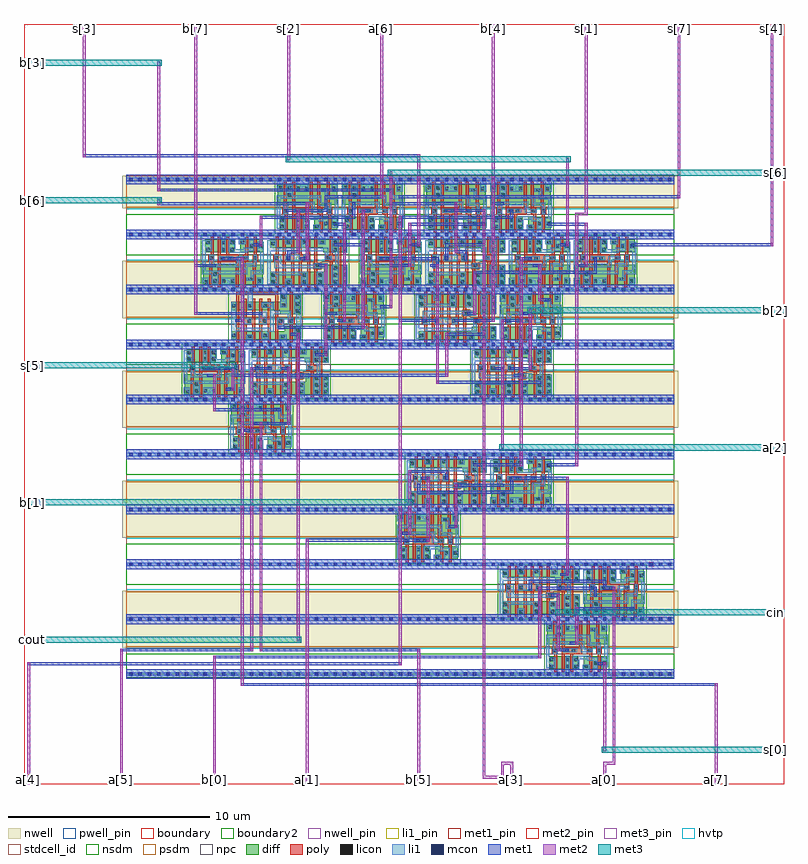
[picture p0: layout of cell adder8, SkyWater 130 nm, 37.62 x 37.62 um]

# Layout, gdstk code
import gdstk
lib = gdstk.Library(unit=1e-6, precision=1e-09)
def R(c, l, rs):  # rectangles x0, y0, x1, y1
    for r in rs: c.add(gdstk.rectangle(r[:2], r[2:], *l))
def A(c, l, x, y, w, h, nx, ny, dx, dy):  # array of equal rectangles
    R(c, l, [(x+i*dx, y+j*dy, x+i*dx+w, y+j*dy+h) for i in range(nx) for j in range(ny)])
def P(c, l, *ps):  # polygons
    for p in ps: c.add(gdstk.Polygon(p, *l))
nwell_pin = (64, 16)
nwell = (64, 20)
diff = (65, 20)
poly = (66, 20)
licon = (66, 44)
li1_pin = (67, 16)
li1 = (67, 20)
mcon = (67, 44)
met1_pin = (68, 16)
met1 = (68, 20)
met2_pin = (69, 16)
met2 = (69, 20)
met3_pin = (70, 16)
met3 = (70, 20)
hvtp = (78, 44)
stdcell_id = (81, 4)
nsdm = (93, 44)
psdm = (94, 20)
npc = (95, 20)
pwell_pin = (122, 16)
boundary = (235, 4)
boundary2 = (236, 0)

sky130_fd_sc_hd__fill_4 = lib.new_cell('sky130_fd_sc_hd__fill_4')
R(sky130_fd_sc_hd__fill_4, nwell_pin, [(0.175,2.65,0.3,2.78)])
R(sky130_fd_sc_hd__fill_4, nwell, [(-0.19,1.305,2.03,2.91)])
A(sky130_fd_sc_hd__fill_4, mcon, 0.145, -0.085, 0.17, 0.17, 4, 2, 0.46, 2.72)
R(sky130_fd_sc_hd__fill_4, met1_pin, [(0.17,-0.05,0.285,0.045), (0.17,2.675,0.27,2.76)])
R(sky130_fd_sc_hd__fill_4, hvtp, [(0,1.25,1.84,2.72)])
R(sky130_fd_sc_hd__fill_4, stdcell_id, [(0,0,1.84,2.72)])
R(sky130_fd_sc_hd__fill_4, nsdm, [(0,-0.19,1.84,1.015)])
R(sky130_fd_sc_hd__fill_4, psdm, [(0,1.355,1.84,2.91)])
R(sky130_fd_sc_hd__fill_4, pwell_pin, [(0.175,-0.06,0.285,0.06)])
sky130_fd_sc_hd__fill_4.add(gdstk.FlexPath([(0,0),(1.84,0)], 0.17, ends="flush", simple_path=True, layer=67, datatype=20))  # li1
sky130_fd_sc_hd__fill_4.add(gdstk.FlexPath([(0,2.72),(1.84,2.72)], 0.17, ends="flush", simple_path=True, layer=67, datatype=20))  # li1
sky130_fd_sc_hd__fill_4.add(gdstk.FlexPath([(0,2.72),(1.84,2.72)], 0.48, ends="flush", simple_path=True, layer=68, datatype=20))  # met1
sky130_fd_sc_hd__fill_4.add(gdstk.FlexPath([(0,0),(1.84,0)], 0.48, ends="flush", simple_path=True, layer=68, datatype=20))  # met1
sky130_fd_sc_hd__fill_4.add(gdstk.Label('VGND', (0.23,0), layer=68, texttype=5))
sky130_fd_sc_hd__fill_4.add(gdstk.Label('VPWR', (0.23,2.72), layer=68, texttype=5))
sky130_fd_sc_hd__fill_4.add(gdstk.Label('VPB', (0.23,2.72), layer=64, texttype=5))
sky130_fd_sc_hd__fill_4.add(gdstk.Label('VNB', (0.23,0), layer=64, texttype=59))
sky130_fd_sc_hd__fill_4.add(gdstk.Label('fill_4', (0,0), layer=83, texttype=44))

sky130_fd_sc_hd__fill_1 = lib.new_cell('sky130_fd_sc_hd__fill_1')
R(sky130_fd_sc_hd__fill_1, nwell_pin, [(0.155,2.67,0.255,2.755)])
R(sky130_fd_sc_hd__fill_1, nwell, [(-0.19,1.305,0.65,2.91)])
R(sky130_fd_sc_hd__fill_1, mcon, [(0.145,-0.085,0.315,0.085), (0.145,2.635,0.315,2.805)])
R(sky130_fd_sc_hd__fill_1, met1_pin, [(0.11,-0.065,0.29,0.08), (0.11,2.635,0.29,2.785)])
R(sky130_fd_sc_hd__fill_1, hvtp, [(0,1.25,0.46,2.72)])
R(sky130_fd_sc_hd__fill_1, stdcell_id, [(0,0,0.46,2.72)])
R(sky130_fd_sc_hd__fill_1, nsdm, [(0,-0.19,0.46,1.015)])
R(sky130_fd_sc_hd__fill_1, psdm, [(0,1.355,0.46,2.91)])
R(sky130_fd_sc_hd__fill_1, pwell_pin, [(0.14,-0.055,0.26,0.055)])
sky130_fd_sc_hd__fill_1.add(gdstk.FlexPath([(0,0),(0.46,0)], 0.17, ends="flush", simple_path=True, layer=67, datatype=20))  # li1
sky130_fd_sc_hd__fill_1.add(gdstk.FlexPath([(0,2.72),(0.46,2.72)], 0.17, ends="flush", simple_path=True, layer=67, datatype=20))  # li1
sky130_fd_sc_hd__fill_1.add(gdstk.FlexPath([(0,2.72),(0.46,2.72)], 0.48, ends="flush", simple_path=True, layer=68, datatype=20))  # met1
sky130_fd_sc_hd__fill_1.add(gdstk.FlexPath([(0,0),(0.46,0)], 0.48, ends="flush", simple_path=True, layer=68, datatype=20))  # met1
sky130_fd_sc_hd__fill_1.add(gdstk.Label('VPWR', (0.205,2.72), layer=68, texttype=5))
sky130_fd_sc_hd__fill_1.add(gdstk.Label('VGND', (0.205,0), layer=68, texttype=5))
sky130_fd_sc_hd__fill_1.add(gdstk.Label('VPB', (0.23,2.72), layer=64, texttype=5))
sky130_fd_sc_hd__fill_1.add(gdstk.Label('VNB', (0.23,0), layer=64, texttype=59))
sky130_fd_sc_hd__fill_1.add(gdstk.Label('fill_1', (0,0), layer=83, texttype=44))

sky130_fd_sc_hd__maj3_2 = lib.new_cell('sky130_fd_sc_hd__maj3_2')
R(sky130_fd_sc_hd__maj3_2, nwell_pin, [(0.145,2.635,0.315,2.805)])
R(sky130_fd_sc_hd__maj3_2, nwell, [(-0.19,1.305,4.33,2.91)])
P(sky130_fd_sc_hd__maj3_2, diff, [(4.005,0.885),(2.85,0.885),(2.85,0.655),(0.235,0.655),(0.235,0.235),(4.005,0.235)],
  [(4.005,2.485),(0.235,2.485),(0.235,1.845),(2.915,1.845),(2.915,1.485),(4.005,1.485)])
P(sky130_fd_sc_hd__maj3_2, poly, [(0.645,2.615),(0.495,2.615),(0.495,1.325),(0.375,1.325),(0.375,0.995),(0.495,0.995),(0.495,0.105),(0.645,0.105)],
  [(2.205,2.615),(2.055,2.615),(2.055,1.325),(1.785,1.325),(1.785,2.615),(1.635,2.615),(1.635,0.105),(1.785,0.105),(1.785,0.995),(2.055,0.995),(2.055,0.105),(2.205,0.105)],
  [(3.735,2.615),(3.585,2.615),(3.585,1.295),(3.315,1.295),(3.315,2.615),(3.165,2.615),(3.165,1.295),(2.945,1.295),(2.945,1.025),(3.165,1.025),(3.165,0.105),(3.315,0.105),(3.315,1.025),(3.585,1.025),(3.585,0.105),(3.735,0.105)],
  [(2.745,1.655),(2.565,1.655),(2.565,2.615),(2.415,2.615),(2.415,0.105),(2.565,0.105),(2.565,1.385),(2.745,1.385)],
  [(1.425,2.615),(1.275,2.615),(1.275,1.325),(1.005,1.325),(1.005,2.615),(0.855,2.615),(0.855,0.105),(1.005,0.105),(1.005,0.995),(1.275,0.995),(1.275,0.105),(1.425,0.105)])
A(sky130_fd_sc_hd__maj3_2, licon, 3.365, 1.575, 0.17, 0.17, 1, 3, 0, 0.34)
A(sky130_fd_sc_hd__maj3_2, licon, 3.785, 1.575, 0.17, 0.17, 1, 3, 0, 0.34)
A(sky130_fd_sc_hd__maj3_2, licon, 0.275, 2.255, 0.17, 0.17, 4, 1, 0.78, 0)
R(sky130_fd_sc_hd__maj3_2, licon, [(1.055,0.275,1.225,0.445), (1.835,0.275,2.005,0.445), (2.715,0.295,2.885,0.465), (3.365,0.315,3.535,0.485), (3.785,0.315,3.955,0.485), (0.275,0.36,0.445,0.53), (3.365,0.655,3.535,0.825), (3.785,0.655,3.955,0.825), (0.425,1.075,0.595,1.245), (1.055,1.075,1.225,1.245), (1.865,1.075,2.035,1.245), (3.025,1.075,3.195,1.245), (2.495,1.435,2.665,1.605), (0.275,1.915,0.445,2.085), (1.835,1.915,2.005,2.085), (2.615,1.915,2.785,2.085)])
A(sky130_fd_sc_hd__maj3_2, li1_pin, 0.605, 1.105, 0.17, 0.17, 4, 1, 0.46, 0)
R(sky130_fd_sc_hd__maj3_2, li1_pin, [(3.36,0.425,3.53,0.595), (2.445,1.445,2.615,1.615), (2.9,1.445,3.07,1.615)])
R(sky130_fd_sc_hd__maj3_2, li1, [(1.005,0.995,1.695,1.325), (1.865,0.995,2.155,1.325)])
P(sky130_fd_sc_hd__maj3_2, li1, [(4.14,0.085),(4.055,0.085),(4.055,0.905),(3.785,0.905),(3.785,0.085),(2.965,0.085),(2.965,0.485),(2.635,0.485),(2.635,0.085),(1.305,0.085),(1.305,0.485),(0.975,0.485),(0.975,0.085),(0,0.085),(0,-0.085),(4.14,-0.085)],
  [(4.14,2.805),(0,2.805),(0,2.635),(0.975,2.635),(0.975,2.175),(1.305,2.175),(1.305,2.635),(2.535,2.635),(2.535,1.835),(2.86,1.835),(2.86,2.635),(3.785,2.635),(3.785,1.495),(4.055,1.495),(4.055,2.635),(4.14,2.635)],
  [(3.615,2.465),(3.285,2.465),(3.285,1.495),(3.445,1.495),(3.445,0.905),(3.285,0.905),(3.285,0.255),(3.615,0.255)],
  [(3.275,1.245),(2.925,1.245),(2.925,0.825),(0.255,0.825),(0.255,1.835),(2.085,1.835),(2.085,2.465),(1.755,2.465),(1.755,2.005),(0.615,2.005),(0.615,2.465),(0.085,2.465),(0.085,0.28),(0.525,0.28),(0.525,0.655),(1.755,0.655),(1.755,0.255),(2.085,0.255),(2.085,0.655),(3.105,0.655),(3.105,1.075),(3.275,1.075)],
  [(3.07,1.665),(0.425,1.665),(0.425,0.995),(0.775,0.995),(0.775,1.495),(2.415,1.495),(2.415,1.415),(3.07,1.415)])
A(sky130_fd_sc_hd__maj3_2, mcon, 0.145, -0.085, 0.17, 0.17, 9, 2, 0.46, 2.72)
R(sky130_fd_sc_hd__maj3_2, met1_pin, [(0.145,-0.085,0.315,0.085), (0.145,2.635,0.315,2.805)])
R(sky130_fd_sc_hd__maj3_2, hvtp, [(0,1.25,4.14,2.72)])
R(sky130_fd_sc_hd__maj3_2, stdcell_id, [(0,0,4.14,2.72)])
R(sky130_fd_sc_hd__maj3_2, nsdm, [(0,-0.19,4.14,1.015)])
P(sky130_fd_sc_hd__maj3_2, psdm, [(4.14,2.91),(0,2.91),(0,1.355),(2.385,1.355),(2.385,1.715),(2.775,1.715),(2.775,1.355),(4.14,1.355)])
P(sky130_fd_sc_hd__maj3_2, npc, [(4.14,1.345),(2.765,1.345),(2.765,1.705),(2.395,1.705),(2.395,1.345),(0,1.345),(0,0.975),(4.14,0.975)])
R(sky130_fd_sc_hd__maj3_2, pwell_pin, [(0.145,-0.085,0.315,0.085)])
R(sky130_fd_sc_hd__maj3_2, boundary2, [(0,0,4.14,2.72)])
sky130_fd_sc_hd__maj3_2.add(gdstk.FlexPath([(0,2.72),(4.14,2.72)], 0.48, ends="flush", simple_path=True, layer=68, datatype=20))  # met1
sky130_fd_sc_hd__maj3_2.add(gdstk.FlexPath([(0,0),(4.14,0)], 0.48, ends="flush", simple_path=True, layer=68, datatype=20))  # met1
sky130_fd_sc_hd__maj3_2.add(gdstk.Label('VNB', (0.23,0), layer=64, texttype=59))
sky130_fd_sc_hd__maj3_2.add(gdstk.Label('VPB', (0.23,2.72), layer=64, texttype=5))
sky130_fd_sc_hd__maj3_2.add(gdstk.Label('VGND', (0.23,0), layer=68, texttype=5))
sky130_fd_sc_hd__maj3_2.add(gdstk.Label('VPWR', (0.23,2.72), layer=68, texttype=5))
sky130_fd_sc_hd__maj3_2.add(gdstk.Label('B', (2.07,1.19), layer=67, texttype=5))
sky130_fd_sc_hd__maj3_2.add(gdstk.Label('A', (1.15,1.19), layer=67, texttype=5))
sky130_fd_sc_hd__maj3_2.add(gdstk.Label('A', (1.61,1.19), layer=67, texttype=5))
sky130_fd_sc_hd__maj3_2.add(gdstk.Label('C', (2.53,1.53), layer=67, texttype=5))
sky130_fd_sc_hd__maj3_2.add(gdstk.Label('C', (2.985,1.53), layer=67, texttype=5))
sky130_fd_sc_hd__maj3_2.add(gdstk.Label('X', (3.445,0.51), layer=67, texttype=5))
sky130_fd_sc_hd__maj3_2.add(gdstk.Label('maj3_2', (0,0), layer=83, texttype=44))

sky130_fd_sc_hd__xnor2_1 = lib.new_cell('sky130_fd_sc_hd__xnor2_1')
R(sky130_fd_sc_hd__xnor2_1, nwell_pin, [(0.145,2.635,0.315,2.805)])
R(sky130_fd_sc_hd__xnor2_1, nwell, [(-0.19,1.305,3.41,2.91)])
R(sky130_fd_sc_hd__xnor2_1, diff, [(0.235,0.235,1.685,0.885), (1.955,0.235,3.085,0.885), (0.135,1.485,3.085,2.485)])
P(sky130_fd_sc_hd__xnor2_1, poly, [(2.845,1.325),(2.725,1.325),(2.725,2.615),(2.575,2.615),(2.575,0.995),(2.635,0.995),(2.635,0.105),(2.785,0.105),(2.785,0.995),(2.845,0.995)],
  [(2.365,1.325),(2.245,1.325),(2.245,2.615),(2.095,2.615),(2.095,0.995),(2.215,0.995),(2.215,0.105),(2.365,0.105)],
  [(1.885,2.615),(1.735,2.615),(1.735,1.325),(1.005,1.325),(1.005,2.615),(0.855,2.615),(0.855,0.105),(1.005,0.105),(1.005,0.995),(1.275,0.995),(1.275,0.105),(1.425,0.105),(1.425,0.995),(1.885,0.995)],
  [(0.645,1.325),(0.585,1.325),(0.585,2.615),(0.435,2.615),(0.435,1.325),(0.375,1.325),(0.375,0.995),(0.495,0.995),(0.495,0.105),(0.645,0.105)])
R(sky130_fd_sc_hd__xnor2_1, licon, [(0.275,0.305,0.445,0.475), (1.055,0.305,1.225,0.475), (1.475,0.305,1.645,0.475), (1.995,0.305,2.165,0.475), (2.415,0.47,2.585,0.64), (2.875,0.47,3.045,0.64), (0.275,0.645,0.445,0.815), (1.055,0.645,1.225,0.815), (1.475,0.645,1.645,0.815), (0.425,1.075,0.595,1.245), (1.01,1.075,1.18,1.245), (1.35,1.075,1.52,1.245), (2.145,1.075,2.315,1.245), (2.625,1.075,2.795,1.245), (0.635,1.875,0.805,2.045), (2.355,2.125,2.525,2.295), (1.055,2.205,1.225,2.375), (1.515,2.205,1.685,2.375), (2.815,2.205,2.985,2.375), (0.635,2.215,0.805,2.385), (0.215,2.255,0.385,2.425)])
R(sky130_fd_sc_hd__xnor2_1, li1_pin, [(1.065,1.105,1.235,1.275), (0.605,1.445,0.775,1.615), (2.905,1.785,3.075,1.955)])
R(sky130_fd_sc_hd__xnor2_1, li1, [(0.93,1.075,1.625,1.275)])
P(sky130_fd_sc_hd__xnor2_1, li1, [(3.135,1.955),(2.645,1.955),(2.645,2.295),(2.265,2.295),(2.265,2.125),(2.475,2.125),(2.475,1.755),(2.965,1.755),(2.965,0.825),(2.815,0.825),(2.815,0.345),(3.135,0.345)],
  [(2.795,1.585),(2.305,1.585),(2.305,1.955),(0.885,1.955),(0.885,2.465),(0.555,2.465),(0.555,1.955),(0.085,1.955),(0.085,0.28),(0.55,0.28),(0.55,0.825),(0.255,0.825),(0.255,1.785),(2.135,1.785),(2.135,1.415),(2.625,1.415),(2.625,0.995),(2.795,0.995)],
  [(2.645,0.825),(2.305,0.825),(2.305,0.905),(1.395,0.905),(1.395,0.255),(1.725,0.255),(1.725,0.735),(2.135,0.735),(2.135,0.655),(2.415,0.655),(2.415,0.255),(2.645,0.255)],
  [(2.395,1.245),(1.965,1.245),(1.965,1.615),(0.425,1.615),(0.425,0.995),(0.67,0.995),(0.67,1.445),(1.795,1.445),(1.795,1.075),(2.395,1.075)],
  [(3.22,2.805),(0,2.805),(0,2.635),(0.085,2.635),(0.085,2.125),(0.385,2.125),(0.385,2.635),(1.055,2.635),(1.055,2.125),(1.685,2.125),(1.685,2.635),(2.815,2.635),(2.815,2.125),(3.115,2.125),(3.115,2.635),(3.22,2.635)],
  [(3.22,0.085),(2.245,0.085),(2.245,0.475),(1.895,0.475),(1.895,0.085),(1.225,0.085),(1.225,0.905),(1.055,0.905),(1.055,0.085),(0,0.085),(0,-0.085),(3.22,-0.085)])
A(sky130_fd_sc_hd__xnor2_1, mcon, 0.145, -0.085, 0.17, 0.17, 7, 2, 0.46, 2.72)
R(sky130_fd_sc_hd__xnor2_1, met1_pin, [(0.145,-0.085,0.315,0.085), (0.145,2.635,0.315,2.805)])
R(sky130_fd_sc_hd__xnor2_1, hvtp, [(0,1.25,3.22,2.72)])
R(sky130_fd_sc_hd__xnor2_1, stdcell_id, [(0,0,3.22,2.72)])
R(sky130_fd_sc_hd__xnor2_1, nsdm, [(0,-0.19,3.22,1.015)])
R(sky130_fd_sc_hd__xnor2_1, psdm, [(0,1.355,3.22,2.91)])
R(sky130_fd_sc_hd__xnor2_1, npc, [(0,0.975,3.22,1.345)])
R(sky130_fd_sc_hd__xnor2_1, pwell_pin, [(0.145,-0.085,0.315,0.085)])
R(sky130_fd_sc_hd__xnor2_1, boundary2, [(0,0,3.22,2.72)])
sky130_fd_sc_hd__xnor2_1.add(gdstk.FlexPath([(0,0),(3.22,0)], 0.48, ends="flush", simple_path=True, layer=68, datatype=20))  # met1
sky130_fd_sc_hd__xnor2_1.add(gdstk.FlexPath([(0,2.72),(3.22,2.72)], 0.48, ends="flush", simple_path=True, layer=68, datatype=20))  # met1
sky130_fd_sc_hd__xnor2_1.add(gdstk.Label('VGND', (0.23,0), layer=68, texttype=5))
sky130_fd_sc_hd__xnor2_1.add(gdstk.Label('VPWR', (0.23,2.72), layer=68, texttype=5))
sky130_fd_sc_hd__xnor2_1.add(gdstk.Label('B', (0.69,1.53), layer=67, texttype=5))
sky130_fd_sc_hd__xnor2_1.add(gdstk.Label('Y', (2.99,1.87), layer=67, texttype=5))
sky130_fd_sc_hd__xnor2_1.add(gdstk.Label('A', (1.15,1.19), layer=67, texttype=5))
sky130_fd_sc_hd__xnor2_1.add(gdstk.Label('VPB', (0.23,2.72), layer=64, texttype=5))
sky130_fd_sc_hd__xnor2_1.add(gdstk.Label('VNB', (0.23,0), layer=64, texttype=59))
sky130_fd_sc_hd__xnor2_1.add(gdstk.Label('xnor2_1', (0,0), layer=83, texttype=44))

sky130_fd_sc_hd__fill_2 = lib.new_cell('sky130_fd_sc_hd__fill_2')
R(sky130_fd_sc_hd__fill_2, nwell_pin, [(0.14,2.675,0.31,2.765)])
R(sky130_fd_sc_hd__fill_2, nwell, [(-0.19,1.305,1.11,2.91)])
R(sky130_fd_sc_hd__fill_2, mcon, [(0.145,-0.085,0.315,0.085), (0.605,-0.085,0.775,0.085), (0.145,2.635,0.315,2.805), (0.605,2.635,0.775,2.805)])
R(sky130_fd_sc_hd__fill_2, met1_pin, [(0.1,-0.07,0.365,0.09), (0.105,2.65,0.365,2.805)])
R(sky130_fd_sc_hd__fill_2, hvtp, [(0,1.25,0.92,2.72)])
R(sky130_fd_sc_hd__fill_2, stdcell_id, [(0,0,0.92,2.72)])
R(sky130_fd_sc_hd__fill_2, nsdm, [(0,-0.19,0.92,1.015)])
R(sky130_fd_sc_hd__fill_2, psdm, [(0,1.355,0.92,2.91)])
R(sky130_fd_sc_hd__fill_2, pwell_pin, [(0.155,-0.05,0.315,0.06)])
sky130_fd_sc_hd__fill_2.add(gdstk.FlexPath([(0,0),(0.92,0)], 0.17, ends="flush", simple_path=True, layer=67, datatype=20))  # li1
sky130_fd_sc_hd__fill_2.add(gdstk.FlexPath([(0,2.72),(0.92,2.72)], 0.17, ends="flush", simple_path=True, layer=67, datatype=20))  # li1
sky130_fd_sc_hd__fill_2.add(gdstk.FlexPath([(0,2.72),(0.92,2.72)], 0.48, ends="flush", simple_path=True, layer=68, datatype=20))  # met1
sky130_fd_sc_hd__fill_2.add(gdstk.FlexPath([(0,0),(0.92,0)], 0.48, ends="flush", simple_path=True, layer=68, datatype=20))  # met1
sky130_fd_sc_hd__fill_2.add(gdstk.Label('VGND', (0.23,0), layer=68, texttype=5))
sky130_fd_sc_hd__fill_2.add(gdstk.Label('VPWR', (0.23,2.72), layer=68, texttype=5))
sky130_fd_sc_hd__fill_2.add(gdstk.Label('VPB', (0.23,2.72), layer=64, texttype=5))
sky130_fd_sc_hd__fill_2.add(gdstk.Label('VNB', (0.23,0), layer=64, texttype=59))
sky130_fd_sc_hd__fill_2.add(gdstk.Label('fill_2', (0,0), layer=83, texttype=44))

sky130_fd_sc_hd__maj3_1 = lib.new_cell('sky130_fd_sc_hd__maj3_1')
R(sky130_fd_sc_hd__maj3_1, nwell_pin, [(0.15,2.635,0.32,2.805)])
R(sky130_fd_sc_hd__maj3_1, nwell, [(-0.19,1.305,3.87,2.91)])
P(sky130_fd_sc_hd__maj3_1, diff, [(3.545,0.885),(2.78,0.885),(2.78,0.655),(0.135,0.655),(0.135,0.235),(3.545,0.235)],
  [(3.545,2.485),(2.595,2.485),(2.595,2.125),(0.135,2.125),(0.135,1.705),(2.555,1.705),(2.555,1.485),(3.545,1.485)])
P(sky130_fd_sc_hd__maj3_1, poly, [(3.28,1.325),(3.18,1.325),(3.18,2.615),(3.03,2.615),(3.03,1.325),(2.95,1.325),(2.95,0.995),(3.03,0.995),(3.03,0.105),(3.18,0.105),(3.18,0.995),(3.28,0.995)],
  [(2.74,1.325),(2.465,1.325),(2.465,2.615),(0.395,2.615),(0.395,0.105),(0.545,0.105),(0.545,2.465),(2.315,2.465),(2.315,0.105),(2.465,0.105),(2.465,0.995),(2.74,0.995)],
  [(2.105,2.255),(1.955,2.255),(1.955,1.325),(1.685,1.325),(1.685,2.255),(1.535,2.255),(1.535,0.105),(1.685,0.105),(1.685,0.995),(1.955,0.995),(1.955,0.105),(2.105,0.105)],
  [(1.325,2.255),(1.175,2.255),(1.175,1.325),(0.905,1.325),(0.905,2.255),(0.755,2.255),(0.755,0.105),(0.905,0.105),(0.905,0.995),(1.175,0.995),(1.175,0.105),(1.325,0.105)])
A(sky130_fd_sc_hd__maj3_1, licon, 3.335, 1.575, 0.17, 0.17, 1, 3, 0, 0.34)
A(sky130_fd_sc_hd__maj3_1, licon, 0.175, 1.83, 0.17, 0.17, 3, 1, 0.78, 0)
R(sky130_fd_sc_hd__maj3_1, licon, [(3.335,0.295,3.505,0.465), (2.625,0.3,2.795,0.47), (0.955,0.315,1.125,0.485), (0.175,0.36,0.345,0.53), (1.735,0.36,1.905,0.53), (3.335,0.635,3.505,0.805), (0.955,1.075,1.125,1.245), (1.735,1.075,1.905,1.245), (2.49,1.075,2.66,1.245), (3.03,1.075,3.2,1.245), (2.635,1.845,2.805,2.015), (2.635,2.255,2.805,2.425)])
A(sky130_fd_sc_hd__maj3_1, li1_pin, 0.61, 1.105, 0.17, 0.17, 4, 1, 0.92, 0)
A(sky130_fd_sc_hd__maj3_1, li1_pin, 0.61, 1.445, 0.17, 0.17, 1, 3, 0, 0.34)
R(sky130_fd_sc_hd__maj3_1, li1_pin, [(3.37,0.425,3.54,0.595), (2.45,0.765,2.62,0.935), (3.37,0.765,3.54,0.935), (1.53,1.445,1.7,1.615), (3.37,1.445,3.54,1.615), (3.37,1.785,3.54,1.955)])
R(sky130_fd_sc_hd__maj3_1, li1, [(2.415,0.765,2.755,1.325), (1.5,0.995,1.905,1.615)])
P(sky130_fd_sc_hd__maj3_1, li1, [(3.68,2.805),(0,2.805),(0,2.635),(0.955,2.635),(0.955,1.715),(1.205,1.715),(1.205,2.635),(2.555,2.635),(2.555,1.845),(2.885,1.845),(2.885,2.635),(3.68,2.635)],
  [(3.595,2.465),(3.255,2.465),(3.255,2.16),(3.265,2.16),(3.265,1.495),(3.37,1.495),(3.37,0.825),(3.255,0.825),(3.255,0.255),(3.595,0.255)],
  [(3.68,0.085),(2.88,0.085),(2.88,0.47),(2.545,0.47),(2.545,0.085),(1.205,0.085),(1.205,0.485),(0.875,0.485),(0.875,0.085),(0,0.085),(0,-0.085),(3.68,-0.085)],
  [(1.125,1.325),(0.78,1.325),(0.78,2.46),(0.61,2.46),(0.61,0.995),(1.125,0.995)],
  [(3.2,1.325),(3.095,1.325),(3.095,1.665),(2.245,1.665),(2.245,2.08),(1.655,2.08),(1.655,1.815),(2.075,1.815),(2.075,0.825),(0.395,0.825),(0.395,2.125),(0.135,2.125),(0.135,0.255),(0.395,0.255),(0.395,0.655),(1.655,0.655),(1.655,0.255),(1.985,0.255),(1.985,0.64),(2.245,0.64),(2.245,1.495),(2.925,1.495),(2.925,0.995),(3.2,0.995)])
A(sky130_fd_sc_hd__maj3_1, mcon, 0.145, -0.085, 0.17, 0.17, 8, 2, 0.46, 2.72)
R(sky130_fd_sc_hd__maj3_1, met1_pin, [(0.15,-0.085,0.32,0.085), (0.15,2.635,0.32,2.805)])
R(sky130_fd_sc_hd__maj3_1, hvtp, [(0,1.25,3.68,2.72)])
R(sky130_fd_sc_hd__maj3_1, stdcell_id, [(0,0,3.68,2.72)])
R(sky130_fd_sc_hd__maj3_1, nsdm, [(0,-0.19,3.68,1.015)])
R(sky130_fd_sc_hd__maj3_1, psdm, [(0,1.355,3.68,2.91)])
R(sky130_fd_sc_hd__maj3_1, npc, [(0,0.975,3.68,1.345)])
R(sky130_fd_sc_hd__maj3_1, pwell_pin, [(0.15,-0.085,0.32,0.085)])
R(sky130_fd_sc_hd__maj3_1, boundary2, [(0,0,3.68,2.72)])
sky130_fd_sc_hd__maj3_1.add(gdstk.FlexPath([(0,2.72),(3.68,2.72)], 0.48, ends="flush", simple_path=True, layer=68, datatype=20))  # met1
sky130_fd_sc_hd__maj3_1.add(gdstk.FlexPath([(0,0),(3.68,0)], 0.48, ends="flush", simple_path=True, layer=68, datatype=20))  # met1
sky130_fd_sc_hd__maj3_1.add(gdstk.Label('C', (2.535,1.19), layer=67, texttype=5))
sky130_fd_sc_hd__maj3_1.add(gdstk.Label('X', (3.455,0.51), layer=67, texttype=5))
sky130_fd_sc_hd__maj3_1.add(gdstk.Label('X', (3.455,0.85), layer=67, texttype=5))
sky130_fd_sc_hd__maj3_1.add(gdstk.Label('X', (3.455,1.19), layer=67, texttype=5))
sky130_fd_sc_hd__maj3_1.add(gdstk.Label('X', (3.455,1.53), layer=67, texttype=5))
sky130_fd_sc_hd__maj3_1.add(gdstk.Label('B', (1.615,1.19), layer=67, texttype=5))
sky130_fd_sc_hd__maj3_1.add(gdstk.Label('A', (0.695,1.19), layer=67, texttype=5))
sky130_fd_sc_hd__maj3_1.add(gdstk.Label('X', (3.455,1.87), layer=67, texttype=5))
sky130_fd_sc_hd__maj3_1.add(gdstk.Label('VPB', (0.235,2.72), layer=64, texttype=5))
sky130_fd_sc_hd__maj3_1.add(gdstk.Label('VNB', (0.235,0), layer=64, texttype=59))
sky130_fd_sc_hd__maj3_1.add(gdstk.Label('VGND', (0.23,0), layer=68, texttype=5))
sky130_fd_sc_hd__maj3_1.add(gdstk.Label('VPWR', (0.23,2.72), layer=68, texttype=5))
sky130_fd_sc_hd__maj3_1.add(gdstk.Label('maj3_1', (0,0), layer=83, texttype=44))

adder8 = lib.new_cell('adder8')
R(adder8, met1, [(10.74,4.86,34.34,5), (0.16,5.88,18.7,6.02), (28.395,5.88,28.75,6.02), (9.36,6.22,25.6,6.36), (4.76,6.56,11.34,6.7), (11.66,6.56,19.62,6.7), (26.38,6.56,26.98,6.7), (27.015,6.9,27.37,7.04), (27.3,8.6,30.2,8.74), (26.095,9.28,26.45,9.42), (28.22,9.28,28.36,9.62), (25,9.62,25.14,9.96), (25.46,9.62,28.36,9.76), (28.68,9.62,29.28,9.76), (28.68,9.76,28.82,9.96), (25,9.96,28.82,10.1), (26.555,10.3,26.91,10.44), (13.96,12,20.08,12.14), (18.735,12.34,19.09,12.48), (21.035,12.68,21.39,12.82), (19.48,14.38,24.22,14.52), (19.48,14.52,19.62,14.86), (24.08,14.52,24.22,15.06), (21.32,14.72,23.76,14.86), (19.655,15.06,20.01,15.2), (20.86,15.06,21,15.4), (24.08,15.06,26.98,15.2), (19.02,15.4,21,15.54), (22.24,15.74,24.68,15.88), (25.92,15.74,27.44,15.88), (10.915,17.44,11.27,17.58), (11.375,17.78,13.18,17.92), (9.36,18.46,12.72,18.6), (9.995,19.48,10.35,19.62), (20.4,19.82,25.6,19.96), (9.075,20.16,9.43,20.3), (10.28,20.16,21,20.3), (24.255,20.16,24.61,20.3), (10.28,20.3,10.42,20.5), (8.9,20.5,10.42,20.64), (11.2,20.5,12.26,20.64), (12.755,20.5,13.11,20.64), (23.335,20.5,23.69,20.64), (24.08,20.5,25.14,20.64), (14.42,21.18,15.02,21.32), (13.215,22.2,13.57,22.34), (20.86,22.2,22.84,22.34), (12.58,22.54,16.86,22.68), (10.455,22.88,10.81,23.02), (15.515,22.88,15.87,23.02), (18.56,22.88,20.54,23.02), (21.32,22.88,23.3,23.02), (23.62,22.88,24.68,23.02), (8.44,23.22,11.8,23.36), (14.88,23.22,15.48,23.36), (21.955,23.22,22.31,23.36), (24.715,23.22,25.07,23.36), (17.64,23.56,18.24,23.7), (25.46,23.9,26.06,24.04), (22.24,25.26,28.36,25.4), (28.22,25.4,28.36,26.08), (8.44,25.6,9.5,25.74), (14.595,25.6,14.95,25.74), (18.1,25.6,19.16,25.74), (20.115,25.6,20.54,25.74), (25.175,25.6,25.53,25.74), (27.475,25.6,27.83,25.74), (20.4,25.74,20.54,25.94), (9.82,25.94,10.88,26.08), (13.04,25.94,13.18,26.28), (13.675,25.94,14.03,26.08), (17.64,25.94,20.54,26.08), (20.86,25.94,21,26.62), (21.78,25.94,21.92,26.28), (24.54,25.94,25.14,26.08), (13.04,26.28,13.64,26.42), (21.32,26.28,21.92,26.42), (11.375,26.62,11.73,26.76), (15.34,26.62,16.86,26.76), (19.195,26.62,19.55,26.76), (20.86,26.62,22.84,26.76), (26.555,26.62,26.91,26.76), (30.06,26.62,37.1,26.76), (15.34,27.64,15.94,27.78), (19.02,27.64,22.84,27.78), (25.92,27.64,27.9,27.78), (11.66,27.98,16.4,28.12), (18.56,27.98,24.22,28.12), (16.26,28.12,16.4,28.8), (24.08,28.12,24.22,28.46), (12.975,28.32,15.02,28.46), (16.79,28.32,17.145,28.46), (20.86,28.32,22.84,28.46), (14.88,28.46,15.02,29), (6.6,28.66,14.1,28.8), (18.1,28.66,21.46,28.8), (23.16,28.66,23.76,28.8), (18.1,28.8,18.24,29.34), (14.88,29,17.78,29.14), (18.56,29,32.5,29.14), (6.6,29.34,18.24,29.48), (2.92,31.04,19.62,31.18)])
A(adder8, met2_pin, 0.16, 0, 0.14, 0.485, 4, 1, 4.6, 0)
A(adder8, met2_pin, 19.48, 0, 0.14, 0.485, 3, 1, 4.6, 0)
A(adder8, met2_pin, 8.44, 37.14, 0.14, 0.485, 3, 1, 4.6, 0)
A(adder8, met2_pin, 23.16, 37.14, 0.14, 0.485, 4, 1, 4.6, 0)
R(adder8, met2_pin, [(34.2,0,34.34,0.485), (2.92,37.14,3.06,37.625)])
R(adder8, met2, [(0.16,0,0.3,6.02), (4.76,0,4.9,6.7), (9.36,0,9.5,6.36), (13.96,0,14.1,12.14), (19.48,0,19.62,6.7), (24.08,0,24.22,0.95), (28.68,0,28.82,0.95), (34.2,0,34.34,5), (22.7,0.27,23.76,0.41), (22.7,0.41,22.84,28.46), (23.62,0.41,23.76,0.95), (23.62,0.95,24.22,1.09), (28.68,0.95,29.28,1.09), (29.14,1.09,29.28,9.76), (28.68,1.63,28.82,6.02), (10.74,4.86,10.88,26.08), (18.56,5.88,18.7,28.12), (25.46,6.22,25.6,9.76), (11.2,6.56,11.34,20.64), (11.66,6.56,11.8,17.92), (26.38,6.56,26.52,9.42), (27.3,6.9,27.44,8.74), (13.5,7.07,13.64,22.34), (26.84,10.3,26.98,15.2), (19.94,12,20.08,15.2), (19.02,12.34,19.16,15.54), (21.32,12.68,21.46,14.86), (24.54,15.74,24.68,26.08), (27.3,15.74,27.44,28.15), (23.62,16.59,23.76,23.02), (13.04,17.78,13.18,20.64), (9.36,18.46,9.5,20.3), (10.28,19.48,10.42,20.81), (20.4,19.82,20.54,25.74), (20.86,20.16,21,22.34), (25,20.5,25.14,23.53), (14.88,21.18,15.02,25.74), (16.72,22.54,16.86,28.46), (15.8,22.88,15.94,27.78), (23.16,22.88,23.3,37.625), (8.44,23.22,8.58,37.625), (22.24,23.22,22.38,25.4), (18.1,23.56,18.24,30.33), (25.46,23.9,25.6,25.74), (19.02,25.6,19.16,27.78), (27.76,25.6,27.9,27.78), (13.96,25.94,14.1,28.8), (13.5,26.28,13.64,28.46), (21.32,26.28,21.46,28.8), (11.66,26.62,11.8,28.12), (19.48,26.62,19.62,31.18), (26.84,26.62,26.98,31.01), (36.96,26.62,37.1,37.625), (27.3,28.15,27.9,28.29), (27.76,28.29,27.9,37.625), (6.6,28.66,6.74,28.97), (17.64,29,17.78,37.625), (32.36,29,32.5,37.625), (6.6,29.34,6.74,35.77), (13.04,30.87,13.18,37.625), (2.92,31.04,3.06,37.625)])
A(adder8, met3_pin, 0, 6.99, 0.8, 0.3, 1, 3, 0, 6.8)
A(adder8, met3_pin, 36.825, 16.51, 0.8, 0.3, 1, 3, 0, 6.8)
R(adder8, met3_pin, [(36.825,1.55,37.625,1.85), (36.825,8.35,37.625,8.65), (0,28.75,0.8,29.05), (0,35.55,0.8,35.85)])
R(adder8, met3, [(28.6,1.55,37.625,1.85), (0,6.99,13.72,7.29), (26.3,8.35,37.625,8.65), (0,13.79,19.24,14.09), (23.54,16.51,37.625,16.81), (0,20.59,10.5,20.89), (24.92,23.31,37.625,23.61), (0,28.75,6.82,29.05), (18.02,30.11,37.625,30.41), (12.96,30.79,27.06,31.09), (0,35.55,6.82,35.85)])
R(adder8, hvtp, [(25.92,7.85,26.015,8.105), (25.92,8.105,28.665,8.215), (27.375,8.215,27.855,8.525), (19.175,13.545,21.305,13.655), (10.36,18.875,10.375,18.985), (10.36,18.985,13.025,19.095), (10.725,19.095,11.355,19.23), (14.65,24.045,14.975,24.425), (19.36,24.055,19.635,24.425), (23.235,24.29,23.715,24.425), (12.97,24.425,13.48,24.535), (14.65,24.425,15.875,24.535), (16.815,24.425,17.625,24.535), (19.36,24.425,26.365,24.535), (19.465,24.535,20.095,24.905), (23.695,24.535,24.175,24.67)])
R(adder8, nsdm, [(27.59,9.87,27.71,10.77), (22.99,15.31,23.11,16.21), (11.03,20.98,11.15,21.65), (15.17,21.525,15.19,21.65), (10.13,21.65,13.79,21.87), (14.81,21.65,15.19,21.87), (22.19,21.65,26.21,21.87), (14.81,21.87,14.83,21.995), (23.45,21.87,23.57,22.77), (23.91,26.19,24.03,27.09), (27.13,26.19,27.25,27.09), (11.95,26.42,12.07,27.09), (19.77,26.42,19.89,27.09), (16.09,26.965,16.11,27.09), (12.53,27.09,16.11,27.31), (16.67,27.09,18.85,27.31), (19.395,27.09,26.21,27.31), (15.63,27.31,15.75,28.21), (19.395,27.31,19.89,27.39), (22.99,27.31,23.11,28.21)])
R(adder8, psdm, [(25.77,8.05,28.97,8.27), (27.59,8.27,27.61,9.52), (18.97,13.49,21.61,13.71), (22.99,13.71,23.01,14.96), (10.13,18.93,13.33,19.15), (11.03,19.15,11.15,20.04), (23.45,23.12,23.47,24.37), (19.41,24.245,19.43,24.37), (12.59,24.37,13.79,24.59), (14.73,24.37,16.09,24.59), (16.57,24.37,17.93,24.59), (19.41,24.37,26.67,24.59), (11.95,24.59,12.07,25.48), (19.77,24.59,19.89,25.48), (23.91,24.59,23.93,25.84), (27.13,24.59,27.15,25.84), (15.63,28.56,15.65,29.81), (22.99,28.56,23.01,29.81)])
R(adder8, boundary, [(0,0,37.625,37.625)])
adder8.add(gdstk.Reference(sky130_fd_sc_hd__fill_4, (5.06,5.44)))
adder8.add(gdstk.Reference(sky130_fd_sc_hd__fill_4, (6.9,5.44)))
adder8.add(gdstk.Reference(sky130_fd_sc_hd__fill_4, (8.74,5.44)))
adder8.add(gdstk.Reference(sky130_fd_sc_hd__fill_4, (5.06,10.88), x_reflection=True))
adder8.add(gdstk.Reference(sky130_fd_sc_hd__fill_4, (6.9,10.88), x_reflection=True))
adder8.add(gdstk.Reference(sky130_fd_sc_hd__fill_4, (8.74,10.88), x_reflection=True))
adder8.add(gdstk.Reference(sky130_fd_sc_hd__fill_4, (10.58,5.44)))
adder8.add(gdstk.Reference(sky130_fd_sc_hd__fill_4, (12.42,5.44)))
adder8.add(gdstk.Reference(sky130_fd_sc_hd__fill_4, (10.58,10.88), x_reflection=True))
adder8.add(gdstk.Reference(sky130_fd_sc_hd__fill_4, (12.42,10.88), x_reflection=True))
adder8.add(gdstk.Reference(sky130_fd_sc_hd__fill_4, (14.26,5.44)))
adder8.add(gdstk.Reference(sky130_fd_sc_hd__fill_4, (16.1,5.44)))
adder8.add(gdstk.Reference(sky130_fd_sc_hd__fill_4, (17.94,5.44)))
adder8.add(gdstk.Reference(sky130_fd_sc_hd__fill_4, (14.26,10.88), x_reflection=True))
adder8.add(gdstk.Reference(sky130_fd_sc_hd__fill_4, (16.1,10.88), x_reflection=True))
adder8.add(gdstk.Reference(sky130_fd_sc_hd__fill_4, (17.94,10.88), x_reflection=True))
adder8.add(gdstk.Reference(sky130_fd_sc_hd__fill_4, (19.78,5.44)))
adder8.add(gdstk.Reference(sky130_fd_sc_hd__fill_4, (21.62,5.44)))
adder8.add(gdstk.Reference(sky130_fd_sc_hd__fill_4, (19.78,10.88), x_reflection=True))
adder8.add(gdstk.Reference(sky130_fd_sc_hd__fill_4, (21.62,10.88), x_reflection=True))
adder8.add(gdstk.Reference(sky130_fd_sc_hd__fill_4, (23.46,5.44)))
adder8.add(gdstk.Reference(sky130_fd_sc_hd__fill_1, (25.3,5.44)))
adder8.add(gdstk.Reference(sky130_fd_sc_hd__maj3_2, (23.46,10.88), x_reflection=True))
adder8.add(gdstk.Reference(sky130_fd_sc_hd__xnor2_1, (27.6,10.88), x_reflection=True))
adder8.add(gdstk.Reference(sky130_fd_sc_hd__xnor2_1, (25.76,5.44)))
adder8.add(gdstk.Reference(sky130_fd_sc_hd__fill_4, (28.98,5.44)))
adder8.add(gdstk.Reference(sky130_fd_sc_hd__fill_2, (30.82,5.44)))
adder8.add(gdstk.Reference(sky130_fd_sc_hd__fill_1, (31.74,5.44)))
adder8.add(gdstk.Reference(sky130_fd_sc_hd__fill_2, (30.82,10.88), x_reflection=True))
adder8.add(gdstk.Reference(sky130_fd_sc_hd__fill_1, (31.74,10.88), x_reflection=True))
adder8.add(gdstk.Reference(sky130_fd_sc_hd__fill_4, (5.06,10.88)))
adder8.add(gdstk.Reference(sky130_fd_sc_hd__fill_4, (6.9,10.88)))
adder8.add(gdstk.Reference(sky130_fd_sc_hd__fill_4, (8.74,10.88)))
adder8.add(gdstk.Reference(sky130_fd_sc_hd__fill_4, (10.58,10.88)))
adder8.add(gdstk.Reference(sky130_fd_sc_hd__fill_4, (12.42,10.88)))
adder8.add(gdstk.Reference(sky130_fd_sc_hd__fill_4, (14.26,10.88)))
adder8.add(gdstk.Reference(sky130_fd_sc_hd__fill_4, (16.1,10.88)))
adder8.add(gdstk.Reference(sky130_fd_sc_hd__fill_1, (17.94,10.88)))
adder8.add(gdstk.Reference(sky130_fd_sc_hd__xnor2_1, (18.4,10.88)))
adder8.add(gdstk.Reference(sky130_fd_sc_hd__fill_4, (21.62,10.88)))
adder8.add(gdstk.Reference(sky130_fd_sc_hd__fill_4, (23.46,10.88)))
adder8.add(gdstk.Reference(sky130_fd_sc_hd__fill_4, (25.3,10.88)))
adder8.add(gdstk.Reference(sky130_fd_sc_hd__fill_4, (27.14,10.88)))
adder8.add(gdstk.Reference(sky130_fd_sc_hd__fill_4, (28.98,10.88)))
adder8.add(gdstk.Reference(sky130_fd_sc_hd__fill_2, (30.82,10.88)))
adder8.add(gdstk.Reference(sky130_fd_sc_hd__fill_1, (31.74,10.88)))
adder8.add(gdstk.Reference(sky130_fd_sc_hd__fill_4, (5.06,16.32), x_reflection=True))
adder8.add(gdstk.Reference(sky130_fd_sc_hd__fill_4, (6.9,16.32), x_reflection=True))
adder8.add(gdstk.Reference(sky130_fd_sc_hd__fill_4, (8.74,16.32), x_reflection=True))
adder8.add(gdstk.Reference(sky130_fd_sc_hd__fill_4, (10.58,16.32), x_reflection=True))
adder8.add(gdstk.Reference(sky130_fd_sc_hd__fill_4, (12.42,16.32), x_reflection=True))
adder8.add(gdstk.Reference(sky130_fd_sc_hd__fill_4, (14.26,16.32), x_reflection=True))
adder8.add(gdstk.Reference(sky130_fd_sc_hd__fill_4, (16.1,16.32), x_reflection=True))
adder8.add(gdstk.Reference(sky130_fd_sc_hd__fill_2, (17.94,16.32), x_reflection=True))
adder8.add(gdstk.Reference(sky130_fd_sc_hd__maj3_2, (18.86,16.32), x_reflection=True))
adder8.add(gdstk.Reference(sky130_fd_sc_hd__xnor2_1, (23,16.32), x_reflection=True))
adder8.add(gdstk.Reference(sky130_fd_sc_hd__fill_4, (26.22,16.32), x_reflection=True))
adder8.add(gdstk.Reference(sky130_fd_sc_hd__fill_4, (28.06,16.32), x_reflection=True))
adder8.add(gdstk.Reference(sky130_fd_sc_hd__fill_4, (29.9,16.32), x_reflection=True))
adder8.add(gdstk.Reference(sky130_fd_sc_hd__fill_1, (31.74,16.32), x_reflection=True))
adder8.add(gdstk.Reference(sky130_fd_sc_hd__fill_4, (5.06,16.32)))
adder8.add(gdstk.Reference(sky130_fd_sc_hd__fill_4, (6.9,16.32)))
adder8.add(gdstk.Reference(sky130_fd_sc_hd__fill_2, (8.74,16.32)))
adder8.add(gdstk.Reference(sky130_fd_sc_hd__fill_1, (9.66,16.32)))
adder8.add(gdstk.Reference(sky130_fd_sc_hd__fill_4, (13.34,16.32)))
adder8.add(gdstk.Reference(sky130_fd_sc_hd__xnor2_1, (10.12,16.32)))
adder8.add(gdstk.Reference(sky130_fd_sc_hd__fill_4, (15.18,16.32)))
adder8.add(gdstk.Reference(sky130_fd_sc_hd__fill_4, (17.02,16.32)))
adder8.add(gdstk.Reference(sky130_fd_sc_hd__fill_4, (18.86,16.32)))
adder8.add(gdstk.Reference(sky130_fd_sc_hd__fill_4, (20.7,16.32)))
adder8.add(gdstk.Reference(sky130_fd_sc_hd__fill_4, (22.54,16.32)))
adder8.add(gdstk.Reference(sky130_fd_sc_hd__fill_4, (24.38,16.32)))
adder8.add(gdstk.Reference(sky130_fd_sc_hd__fill_4, (26.22,16.32)))
adder8.add(gdstk.Reference(sky130_fd_sc_hd__fill_4, (28.06,16.32)))
adder8.add(gdstk.Reference(sky130_fd_sc_hd__fill_4, (29.9,16.32)))
adder8.add(gdstk.Reference(sky130_fd_sc_hd__fill_1, (31.74,16.32)))
adder8.add(gdstk.Reference(sky130_fd_sc_hd__fill_4, (5.06,21.76), x_reflection=True))
adder8.add(gdstk.Reference(sky130_fd_sc_hd__fill_2, (6.9,21.76), x_reflection=True))
adder8.add(gdstk.Reference(sky130_fd_sc_hd__xnor2_1, (7.82,21.76), x_reflection=True))
adder8.add(gdstk.Reference(sky130_fd_sc_hd__maj3_2, (11.04,21.76), x_reflection=True))
adder8.add(gdstk.Reference(sky130_fd_sc_hd__fill_4, (15.18,21.76), x_reflection=True))
adder8.add(gdstk.Reference(sky130_fd_sc_hd__fill_4, (17.02,21.76), x_reflection=True))
adder8.add(gdstk.Reference(sky130_fd_sc_hd__fill_4, (18.86,21.76), x_reflection=True))
adder8.add(gdstk.Reference(sky130_fd_sc_hd__fill_2, (20.7,21.76), x_reflection=True))
adder8.add(gdstk.Reference(sky130_fd_sc_hd__fill_1, (21.62,21.76), x_reflection=True))
adder8.add(gdstk.Reference(sky130_fd_sc_hd__maj3_2, (22.08,21.76), x_reflection=True))
adder8.add(gdstk.Reference(sky130_fd_sc_hd__fill_4, (26.22,21.76), x_reflection=True))
adder8.add(gdstk.Reference(sky130_fd_sc_hd__fill_4, (28.06,21.76), x_reflection=True))
adder8.add(gdstk.Reference(sky130_fd_sc_hd__fill_4, (29.9,21.76), x_reflection=True))
adder8.add(gdstk.Reference(sky130_fd_sc_hd__fill_1, (31.74,21.76), x_reflection=True))
adder8.add(gdstk.Reference(sky130_fd_sc_hd__fill_4, (5.06,21.76)))
adder8.add(gdstk.Reference(sky130_fd_sc_hd__fill_4, (6.9,21.76)))
adder8.add(gdstk.Reference(sky130_fd_sc_hd__fill_2, (8.74,21.76)))
adder8.add(gdstk.Reference(sky130_fd_sc_hd__fill_4, (5.06,27.2), x_reflection=True))
adder8.add(gdstk.Reference(sky130_fd_sc_hd__fill_4, (6.9,27.2), x_reflection=True))
adder8.add(gdstk.Reference(sky130_fd_sc_hd__xnor2_1, (8.74,27.2), x_reflection=True))
adder8.add(gdstk.Reference(sky130_fd_sc_hd__fill_1, (9.66,21.76)))
adder8.add(gdstk.Reference(sky130_fd_sc_hd__fill_2, (13.8,21.76)))
adder8.add(gdstk.Reference(sky130_fd_sc_hd__maj3_2, (11.96,27.2), x_reflection=True))
adder8.add(gdstk.Reference(sky130_fd_sc_hd__maj3_1, (10.12,21.76)))
adder8.add(gdstk.Reference(sky130_fd_sc_hd__fill_2, (17.94,21.76)))
adder8.add(gdstk.Reference(sky130_fd_sc_hd__fill_1, (16.1,27.2), x_reflection=True))
adder8.add(gdstk.Reference(sky130_fd_sc_hd__xnor2_1, (16.56,27.2), x_reflection=True))
adder8.add(gdstk.Reference(sky130_fd_sc_hd__xnor2_1, (14.72,21.76)))
adder8.add(gdstk.Reference(sky130_fd_sc_hd__fill_1, (18.86,21.76)))
adder8.add(gdstk.Reference(sky130_fd_sc_hd__maj3_2, (19.78,27.2), x_reflection=True))
adder8.add(gdstk.Reference(sky130_fd_sc_hd__maj3_2, (19.32,21.76)))
adder8.add(gdstk.Reference(sky130_fd_sc_hd__fill_4, (26.68,21.76)))
adder8.add(gdstk.Reference(sky130_fd_sc_hd__xnor2_1, (23.46,21.76)))
adder8.add(gdstk.Reference(sky130_fd_sc_hd__xnor2_1, (23.92,27.2), x_reflection=True))
adder8.add(gdstk.Reference(sky130_fd_sc_hd__xnor2_1, (27.14,27.2), x_reflection=True))
adder8.add(gdstk.Reference(sky130_fd_sc_hd__fill_4, (28.52,21.76)))
adder8.add(gdstk.Reference(sky130_fd_sc_hd__fill_4, (30.36,21.76)))
adder8.add(gdstk.Reference(sky130_fd_sc_hd__fill_4, (30.36,27.2), x_reflection=True))
adder8.add(gdstk.Reference(sky130_fd_sc_hd__fill_4, (5.06,27.2)))
adder8.add(gdstk.Reference(sky130_fd_sc_hd__fill_4, (6.9,27.2)))
adder8.add(gdstk.Reference(sky130_fd_sc_hd__fill_4, (8.74,27.2)))
adder8.add(gdstk.Reference(sky130_fd_sc_hd__fill_4, (10.58,27.2)))
adder8.add(gdstk.Reference(sky130_fd_sc_hd__xnor2_1, (12.42,27.2)))
adder8.add(gdstk.Reference(sky130_fd_sc_hd__xnor2_1, (15.64,27.2)))
adder8.add(gdstk.Reference(sky130_fd_sc_hd__fill_2, (18.86,27.2)))
adder8.add(gdstk.Reference(sky130_fd_sc_hd__xnor2_1, (19.78,27.2)))
adder8.add(gdstk.Reference(sky130_fd_sc_hd__xnor2_1, (23,27.2)))
adder8.add(gdstk.Reference(sky130_fd_sc_hd__fill_4, (26.22,27.2)))
adder8.add(gdstk.Reference(sky130_fd_sc_hd__fill_4, (28.06,27.2)))
adder8.add(gdstk.Reference(sky130_fd_sc_hd__fill_4, (29.9,27.2)))
adder8.add(gdstk.Reference(sky130_fd_sc_hd__fill_1, (31.74,27.2)))
adder8.add(gdstk.Label('a[0]', (28.75,0.242), layer=69, texttype=5))
adder8.add(gdstk.Label('a[1]', (14.03,0.242), layer=69, texttype=5))
adder8.add(gdstk.Label('a[2]', (37.225,16.66), layer=70, texttype=5))
adder8.add(gdstk.Label('a[3]', (24.15,0.242), layer=69, texttype=5))
adder8.add(gdstk.Label('a[4]', (0.23,0.242), layer=69, texttype=5))
adder8.add(gdstk.Label('a[5]', (4.83,0.242), layer=69, texttype=5))
adder8.add(gdstk.Label('a[6]', (17.71,37.382), layer=69, texttype=5))
adder8.add(gdstk.Label('a[7]', (34.27,0.242), layer=69, texttype=5))
adder8.add(gdstk.Label('b[0]', (9.43,0.242), layer=69, texttype=5))
adder8.add(gdstk.Label('b[1]', (0.4,13.94), layer=70, texttype=5))
adder8.add(gdstk.Label('b[2]', (37.225,23.46), layer=70, texttype=5))
adder8.add(gdstk.Label('b[3]', (0.4,35.7), layer=70, texttype=5))
adder8.add(gdstk.Label('b[4]', (23.23,37.382), layer=69, texttype=5))
adder8.add(gdstk.Label('b[5]', (19.55,0.242), layer=69, texttype=5))
adder8.add(gdstk.Label('b[6]', (0.4,28.9), layer=70, texttype=5))
adder8.add(gdstk.Label('b[7]', (8.51,37.382), layer=69, texttype=5))
adder8.add(gdstk.Label('cin', (37.225,8.5), layer=70, texttype=5))
adder8.add(gdstk.Label('cout', (0.4,7.14), layer=70, texttype=5))
adder8.add(gdstk.Label('s[0]', (37.225,1.7), layer=70, texttype=5))
adder8.add(gdstk.Label('s[1]', (27.83,37.382), layer=69, texttype=5))
adder8.add(gdstk.Label('s[2]', (13.11,37.382), layer=69, texttype=5))
adder8.add(gdstk.Label('s[3]', (2.99,37.382), layer=69, texttype=5))
adder8.add(gdstk.Label('s[4]', (37.03,37.382), layer=69, texttype=5))
adder8.add(gdstk.Label('s[5]', (0.4,20.74), layer=70, texttype=5))
adder8.add(gdstk.Label('s[6]', (37.225,30.26), layer=70, texttype=5))
adder8.add(gdstk.Label('s[7]', (32.43,37.382), layer=69, texttype=5))

lib.write_gds('adder8.gds')
